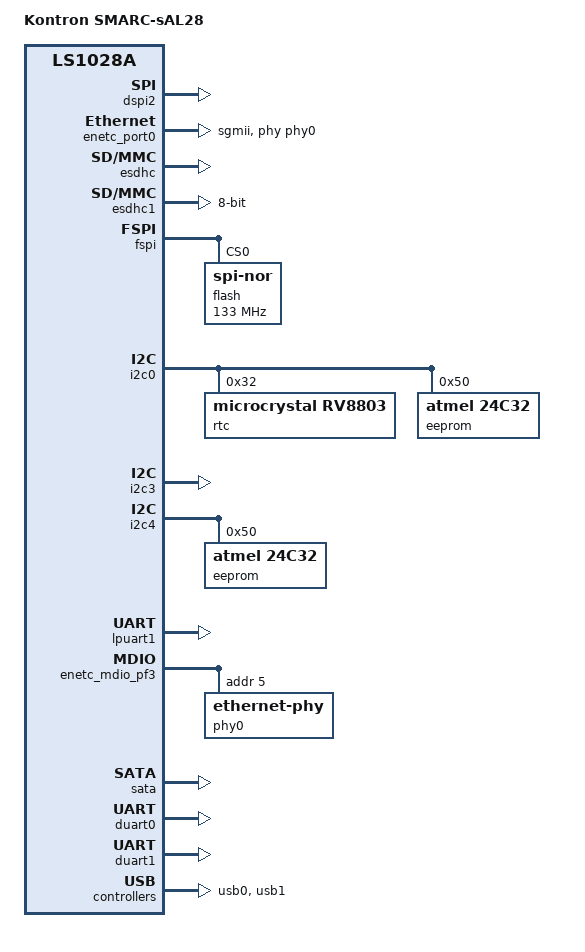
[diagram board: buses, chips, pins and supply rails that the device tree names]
// SPDX-License-Identifier: GPL-2.0+
/*
 * Device Tree file for the Kontron SMARC-sAL28 board.
 *
 * Copyright (C) 2019 Michael Walle <michael@walle.cc>
 *
 */

/dts-v1/;
#include "fsl-ls1028a.dtsi"

/ {
	model = "Kontron SMARC-sAL28";
	compatible = "kontron,sl28", "fsl,ls1028a";

	aliases {
		serial0 = &duart0;
		serial1 = &duart1;
		serial2 = &lpuart1;
		spi0 = &fspi;
		spi1 = &dspi2;
	};

	chosen {
		stdout-path = "serial0:115200n8";
	};
};

&dspi2 {
	status = "okay";
};

&enetc_port0 {
	phy-handle = <&phy0>;
	phy-mode = "sgmii";
	status = "okay";
};

&enetc_port2 {
	status = "disabled";
};

&enetc_port3 {
	status = "disabled";
};

&esdhc {
	sd-uhs-sdr104;
	sd-uhs-sdr50;
	sd-uhs-sdr25;
	sd-uhs-sdr12;
	status = "okay";
};

&esdhc1 {
	mmc-hs200-1_8v;
	mmc-hs400-1_8v;
	bus-width = <8>;
	status = "okay";
};

&fspi {
	status = "okay";

	flash@0 {
		#address-cells = <1>;
		#size-cells = <1>;
		compatible = "jedec,spi-nor";
		m25p,fast-read;
		spi-max-frequency = <133000000>;
		reg = <0>;
		/* The following setting enables 1-1-2 (CMD-ADDR-DATA) mode */
		spi-rx-bus-width = <2>; /* 2 SPI Rx lines */
		spi-tx-bus-width = <1>; /* 1 SPI Tx line */
	};
};

&i2c0 {
	status = "okay";

	rtc@32 {
		compatible = "microcrystal,rv8803";
		reg = <0x32>;
	};

	eeprom@50 {
		compatible = "atmel,24c32";
		reg = <0x50>;
		pagesize = <32>;
	};
};

&i2c3 {
	status = "okay";
};

&i2c4 {
	status = "okay";

	eeprom@50 {
		compatible = "atmel,24c32";
		reg = <0x50>;
		pagesize = <32>;
	};
};

&lpuart1 {
	status = "okay";
};

&enetc_mdio_pf3 {
	status = "okay";
	phy0: ethernet-phy@5 {
		reg = <0x5>;
		eee-broken-1000t;
		eee-broken-100tx;
	};
};

&sata {
	status = "okay";
};

&duart0 {
	status = "okay";
};

&duart1 {
	status = "okay";
};

&usb0 {
	status = "okay";
};

&usb1 {
	status = "okay";
};
